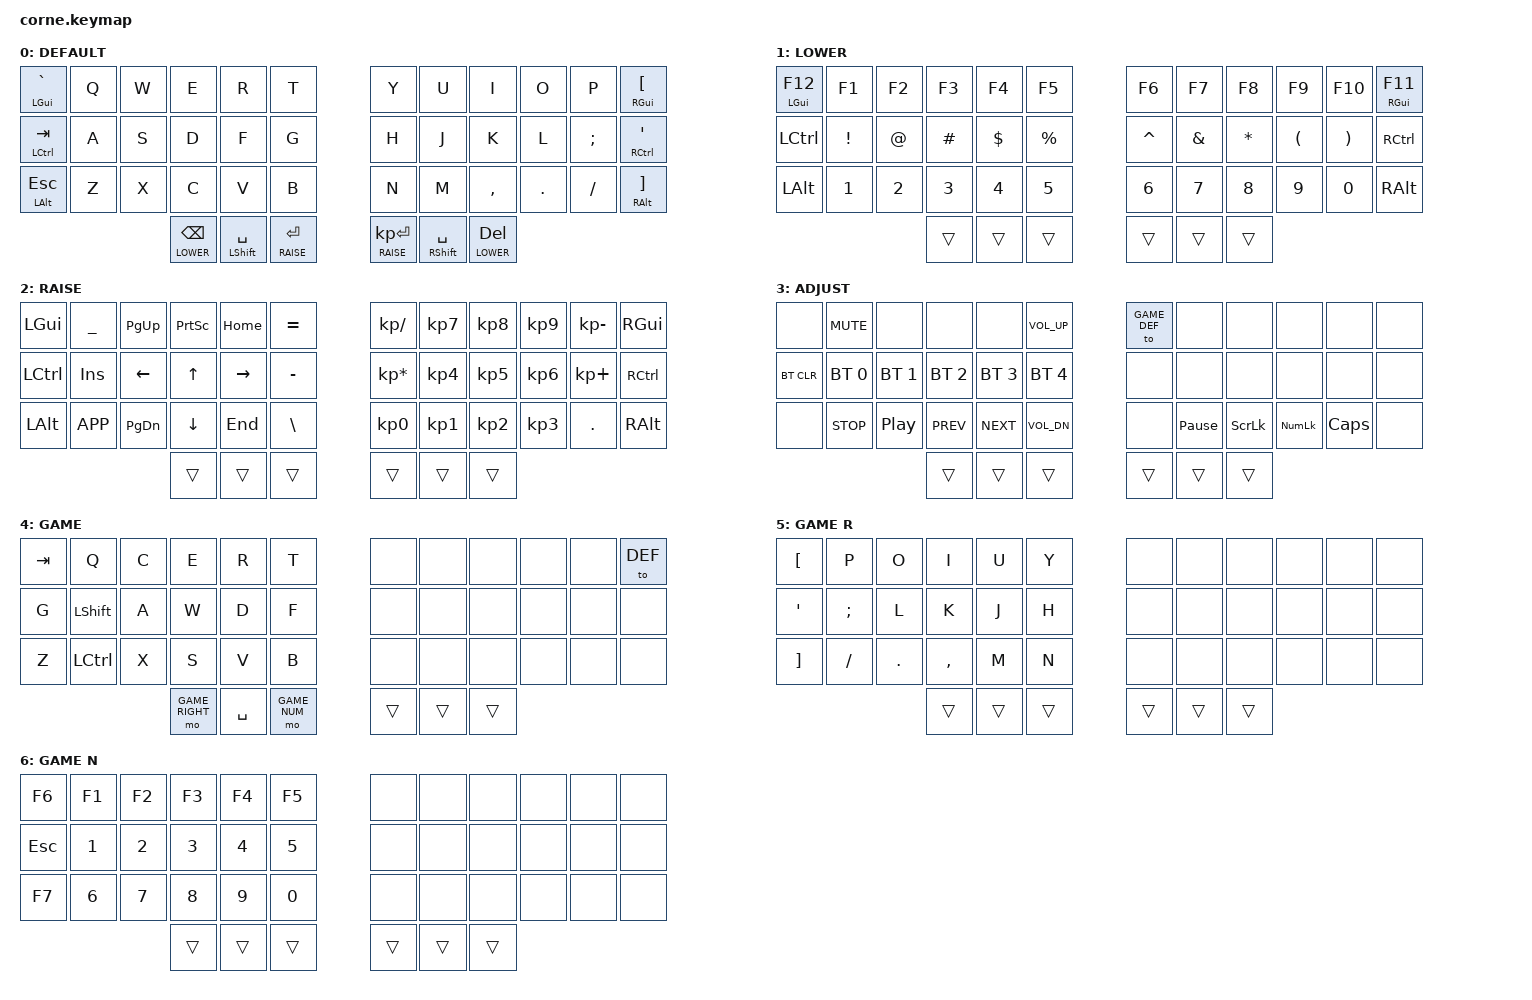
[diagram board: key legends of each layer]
/*
 * Copyright (c) 2020 The ZMK Contributors
 *
 * SPDX-License-Identifier: MIT
 */

#include <behaviors.dtsi>
#include <dt-bindings/zmk/keys.h>
#include <dt-bindings/zmk/bt.h>

#define DEF             0
#define LOWER           1
#define RAISE           2
#define ADJ             3
#define GAME_DEF        4
#define GAME_RIGHT      5
#define GAME_NUM        6




&mt {
    flavor = "hold-preferred";
    quick-tap-ms = <200>;
};

&lt {
   flavor = "hold-preferred";
   quick-tap-ms = <200>;
};


/ {
        conditional_layers {
                compatible = "zmk,conditional-layers";
                tri_layer {
                if-layers = <LOWER RAISE>;
                then-layer = <ADJ>;
                };
        };

        

        keymap {
                compatible = "zmk,keymap";

                behaviors {
                        bm: balanced_mods {
                                compatible = "zmk,behavior-hold-tap";
                                label = "OUTER_MODS";
                                #binding-cells = <2>;
                                tapping-term-ms = <200>;    // <---[[moderate duration]]
                                quick-tap-ms = <0>;
                                flavor = "balanced";
                                bindings = <&kp>, <&kp>;
                        };
                };

                default_layer {
                        label = " DEFAULT";
                        bindings = <
   &bm LGUI GRAVE &kp Q &kp W &kp E &kp R &kp T   &kp Y &kp U  &kp I     &kp O   &kp P    &bm RGUI LBKT
   &bm LCTRL TAB  &kp A &kp S &kp D &kp F &kp G   &kp H &kp J  &kp K     &kp L   &kp SEMI &bm RCTRL SQT
   &bm LALT ESC   &kp Z &kp X &kp C &kp V &kp B   &kp N &kp M  &kp COMMA &kp DOT &kp FSLH &bm RALT RBKT
     &lt LOWER BSPC  &mt LSHFT SPACE  &lt RAISE RET   &lt RAISE KP_ENTER   &mt RSHFT SPACE    &lt LOWER DEL
                        >;
                };

                lower_layer {
                        label = " LOWER";
                        bindings = <
   &mt LGUI F12  &kp F1    &kp F2    &kp F3    &kp F4    &kp F5        &kp F6    &kp F7    &kp F8   &kp F9   &kp F10   &mt RGUI F11
   &kp LCTRL     &kp EXCL  &kp AT    &kp HASH  &kp DLLR  &kp PRCNT     &kp CARET &kp AMPS  &kp STAR &kp LPAR &kp RPAR  &kp RCTRL
   &kp LALT      &kp N1    &kp N2    &kp N3    &kp N4    &kp N5        &kp N6    &kp N7    &kp N8   &kp N9   &kp N0    &kp RALT
                          	     &trans    &trans    &trans        &trans    &trans    &trans
                        >;
                };

                raise_layer {
                        label = " RAISE";
                        bindings = <
   &kp LGUI  &kp UNDER  &kp PG_UP  &kp PSCRN &kp HOME  &kp EQUAL      &kp KP_SLASH    &kp KP_N7  &kp KP_N8 &kp KP_N9 &kp KP_MINUS  &kp RGUI 
   &kp LCTRL &kp INS    &kp LEFT   &kp UP    &kp RIGHT &kp MINUS      &kp KP_MULTIPLY &kp KP_N4  &kp KP_N5 &kp KP_N6 &kp KP_PLUS   &kp RCTRL 
   &kp LALT  &kp K_APP  &kp PG_DN  &kp DOWN  &kp END   &kp BSLH       &kp KP_N0       &kp KP_N1  &kp KP_N2 &kp KP_N3 &kp DOT       &kp RALT 
                          	   &trans    &trans    &trans         &trans          &trans  &trans
                        >;
                };


                adjust_layer {
                        label = " ADJUST";
                        bindings = <
   &none      &kp C_MUTE   &none        &none        &none        &kp C_VOL_UP   &to GAME_DEF &none    &none  &none   &none  &none 
   &bt BT_CLR &bt BT_SEL 0 &bt BT_SEL 1 &bt BT_SEL 2 &bt BT_SEL 3 &bt BT_SEL 4   &none        &none    &none  &none   &none  &none 
   &none      &kp C_STOP   &kp C_PP     &kp C_PREV   &kp C_NEXT   &kp C_VOL_DN   &none        &kp PAUSE_BREAK &kp SLCK &kp KP_NUM &kp CAPS  &none 
                          	        &trans       &trans       &trans         &trans   &trans   &trans
                        >;
                };
// GAME layers
                game_default_layer {
                        label = " GAME";
                        bindings = <
   &kp TAB &kp Q     &kp C &kp E &kp R &kp T                    &none    &none    &none   &none   &none   &to DEF
   &kp G   &kp LSHFT &kp A &kp W &kp D &kp F                    &none    &none    &none   &none   &none   &none
   &kp Z   &kp LCTRL &kp X &kp S &kp V &kp B                    &none    &none    &none   &none   &none   &none
                  &mo GAME_RIGHT &kp SPACE &mo GAME_NUM         &trans   &trans   &trans
                        >;
                };

                game_right_layer {
                        label = " GAME R";
                        bindings = <
   &kp LBKT   &kp P     &kp O    &kp I     &kp U   &kp Y          &none    &none    &none   &none   &none  &none
   &kp SQT    &kp SEMI  &kp L    &kp K     &kp J   &kp H          &none    &none    &none   &none   &none  &none 
   &kp RBKT   &kp FSLH  &kp DOT  &kp COMMA &kp M   &kp N          &none    &none    &none   &none   &none  &none 
                                 &trans    &trans  &trans         &trans   &trans   &trans
                        >;
                };

                game_num_layer {
                        label = " GAME N";
                        bindings = <
   &kp F6   &kp F1  &kp F2   &kp F3   &kp F4   &kp F5             &none    &none    &none   &none   &none  &none
   &kp ESC  &kp N1  &kp N2   &kp N3   &kp N4   &kp N5             &none    &none    &none   &none   &none  &none 
   &kp F7   &kp N6  &kp N7   &kp N8   &kp N9   &kp N0             &none    &none    &none   &none   &none  &none 
                             &trans   &trans   &trans             &trans   &trans   &trans
                        >;
                };
        };
};
